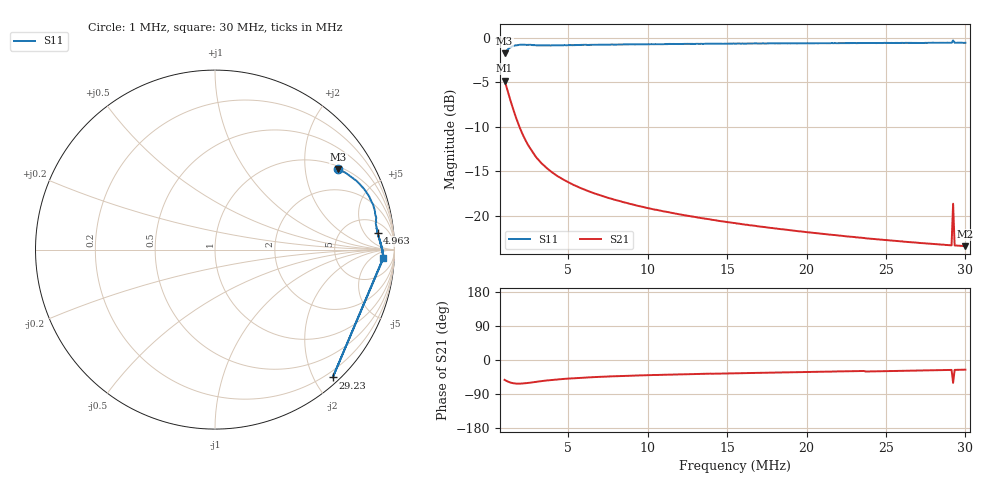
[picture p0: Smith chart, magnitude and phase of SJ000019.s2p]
!File created by NanoVNA-F V2
# Hz S RI R 50
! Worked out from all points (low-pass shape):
!   301 points, 1 MHz to 30 MHz, reference 50 ohm
!   highest |S21| = -4.79 dB at 1 MHz (marker M1); lowest = -23.4 dB at 30 MHz (marker M2)
!   |S21| within 3 dB of the highest: start of sweep to 1.5 MHz
!   lowest |S11| = -1.7 dB at 1 MHz (marker M3), VSWR 10.13, Z = 54.9 + j150 ohm
!   |S11| at or under -10 dB: nowhere
!   S12 and S22 are empty: the file has one direction only
!   S11 on the Smith chart (normalised r, x): 1 MHz: 1.10, +3.00; 4.963 MHz: 10, +11; 29.23 MHz: 0.10, -2.28; 30 MHz: 19, -16
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1000000  0.6873 0.4477  0.3512 -0.4565  0 0  0 0
1096666  0.7277 0.4279  0.3102 -0.4395  0 0  0 0
1289998  0.7887 0.3827  0.2455 -0.4002  0 0  0 0
1579996  0.8448 0.3179  0.1843 -0.3411  0 0  0 0
1773328  0.866 0.2805  0.1597 -0.3061  0 0  0 0
2063326  0.885 0.235  0.1381 -0.2623  0 0  0 0
2353324  0.8922 0.1982  0.126 -0.2294  0 0  0 0
2546656  0.8976 0.1813  0.1212 -0.2119  0 0  0 0
3029986  0.8954 0.149  0.1141 -0.1774  0 0  0 0
3513316  0.899 0.129  0.1097 -0.1552  0 0  0 0
4286644  0.9023 0.1079  0.1048 -0.1312  0 0  0 0
4963306  0.9063 0.093  0.1013 -0.1173  0 0  0 0
5833300  0.9104 0.0784  0.0974 -0.104  0 0  0 0
7863286  0.9154 0.0562  0.0902 -0.0841  0 0  0 0
1.06666e7  0.9221 0.0341  0.0829 -0.0681  0 0  0 0
1.54999e7  0.9299 0.00911  0.0744 -0.0523  0 0  0 0
2.03332e7  0.9333 -0.0118  0.0684 -0.0419  0 0  0 0
2.51665e7  0.9366 -0.0308  0.0633 -0.0356  0 0  0 0
2.912981e7  0.9376 -0.0448  0.0611 -0.03  0 0  0 0
2.922647e7  0.656 -0.712  0.058 -0.1013  0 0  0 0
2.932314e7  0.9397 -0.045  0.0611 -0.0299  0 0  0 0
2.99998e7  0.9382 -0.0477  0.0608 -0.029  0 0  0 0
